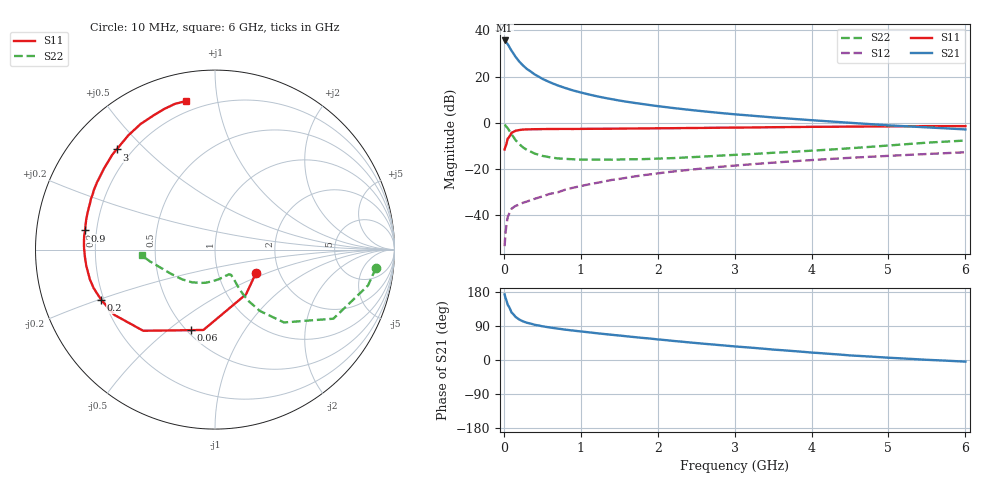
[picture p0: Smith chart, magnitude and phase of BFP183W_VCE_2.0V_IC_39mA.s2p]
! Infineon Technologies  Discrete & RF Semiconductors
! BFP183W
! VCE =  2.0 V,  IC =  39 mA
! Common Emitter S-Parameters:  Jan 2017
# GHz  S  MA  R  50
!  f  S11  S21  S12  S22
! GHz  MAG  ANG  MAG  ANG  MAG  ANG  MAG  ANG
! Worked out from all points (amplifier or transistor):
!   77 points, 10 MHz to 6 GHz, reference 50 ohm
!   highest |S21| = 35.7 dB at 10 MHz (marker M1)
!   |S21| within 3 dB of that: start of sweep to 74.54 MHz
!   unconditionally stable (mu >= 1): 520.8 MHz to 3.945 GHz
!   at 130 MHz: K = 0.43, MSG = 33.2 dB, |S12| = -36.6 dB
!   at 2.2 GHz: K = 1.14, MAG = 11.5 dB, |S12| = -21.2 dB
!   at 6 GHz: K = 0.92, MSG = 5.0 dB, |S12| = -12.8 dB
!   S11 on the Smith chart (normalised r, x): 10 MHz: 1.52, -0.42; 60 MHz: 0.53, -0.61; 200 MHz: 0.19, -0.20; 900 MHz: 0.16, +0.07; 3 GHz: 0.14, +0.41; 6 GHz: 0.14, +0.81
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0.01  0.2627 -29.4  60.74 173.1  0.0021 89.0  0.9026 -6.5
0.02  0.3032 -55.2  59.01 165.0  0.0038 86.9  0.8756 -13.2
0.05  0.4524 -98.2  50.68 145.8  0.0089 62.6  0.7633 -30.3
0.06  0.4676 -106.4  47.43 142.7  0.0098 59.8  0.7185 -32.8
0.1  0.6037 -131.5  36.42 125.2  0.0136 52.3  0.5585 -46.6
0.15  0.6683 -147.0  27.12 114.1  0.0156 45.1  0.4237 -53.8
0.2  0.6929 -156.1  21.22 106.8  0.0168 45.0  0.3435 -56.8
0.25  0.7091 -162.3  17.37 101.8  0.0184 45.4  0.2914 -57.9
0.3  0.7166 -166.6  14.62 98.3  0.0195 46.4  0.2561 -58.3
0.4  0.7228 -172.8  11.16 92.9  0.0223 52.0  0.214 -57.8
0.5  0.7262 -177.0  8.958 89.0  0.0252 54.9  0.1911 -57.4
0.6  0.7295 179.4  7.502 85.7  0.0287 56.7  0.1776 -57.5
0.7  0.7315 176.6  6.432 82.9  0.0308 60.4  0.1683 -57.4
0.9  0.7314 171.6  5.006 77.7  0.0389 62.0  0.161 -59.2
1.1  0.7365 167.2  4.117 73.2  0.0458 64.2  0.1584 -61.7
1.5  0.743 159.5  3.025 64.6  0.0603 65.2  0.159 -69.7
2.1  0.7581 148.5  2.184 52.5  0.0834 63.8  0.1684 -85.9
3  0.7823 134.5  1.521 35.8  0.1172 59.1  0.2005 -112.3
3.1  0.7846 133.0  1.475 34.3  0.1209 58.5  0.2041 -115.1
4.1  0.8145 119.4  1.104 18.3  0.1583 52.0  0.2528 -140.9
5.1  0.8343 109.0  0.859 5.0  0.1946 44.8  0.3295 -163.6
6  0.8432 101.1  0.715 -4.4  0.2284 37.9  0.4103 -175.6
